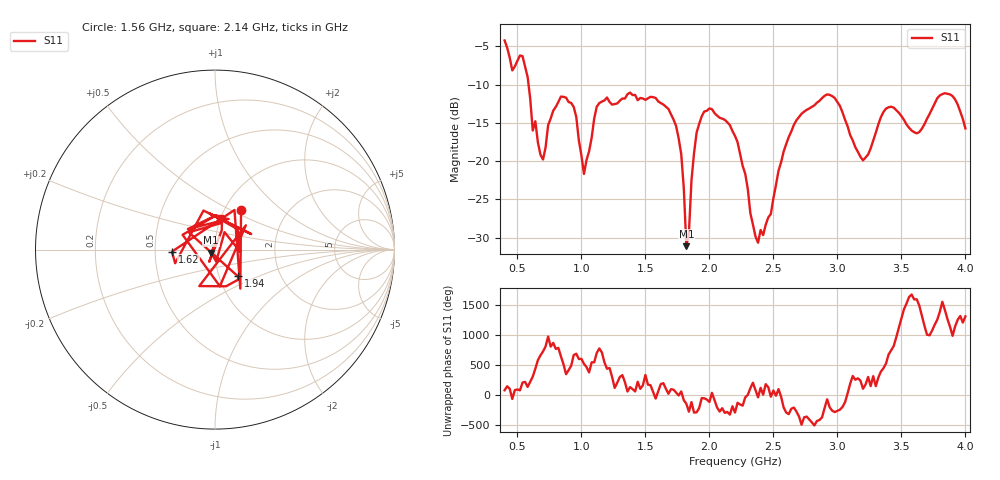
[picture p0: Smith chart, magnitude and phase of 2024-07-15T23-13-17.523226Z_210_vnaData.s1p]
!Created with skrf (http://scikit-rf.org).
# Hz S RI R 50.0
!freq ReS11 ImS11
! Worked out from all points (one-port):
!   181 points, 400 MHz to 4 GHz, reference 50 ohm
!   lowest |S11| = -31.1 dB at 1.82 GHz (marker M1), VSWR 1.06, Z = 47.8 - j1.59 ohm
!   |S11| at or under -10 dB: 587.1 MHz to end of sweep
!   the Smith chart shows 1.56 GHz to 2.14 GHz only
!   S11 on the Smith chart (normalised r, x): 1.56 GHz: 1.20, +0.56; 1.62 GHz: 0.61, -0.01; 1.94 GHz: 1.23, -0.38; 2.14 GHz: 1.00, +0.36
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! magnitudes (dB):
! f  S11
! 400 MHz  -4.2
! 460 MHz  -8.1
! 540 MHz  -6.3
! 620 MHz  -16.0
! 700 MHz  -19.8
! 860 MHz  -11.6
! 940 MHz  -12.9
! 1.02 GHz  -21.7
! 1.12 GHz  -12.9
! 1.3 GHz  -12.1
! 1.56 GHz  -11.6
! 1.62 GHz  -12.4
! 1.76 GHz  -17.0
! 1.8 GHz  -23.6
! 1.82 GHz  -31.1
! 1.88 GHz  -18.9
! 1.94 GHz  -14.1
! 2.14 GHz  -14.9
! 2.2 GHz  -16.7
! 2.38 GHz  -30.7
! 2.66 GHz  -15.3
! 2.94 GHz  -11.3
! 3.1 GHz  -16.6
! 3.2 GHz  -19.9
! 3.38 GHz  -13.1
! 3.56 GHz  -15.6
! 3.84 GHz  -11.1
! 4 GHz  -15.7
